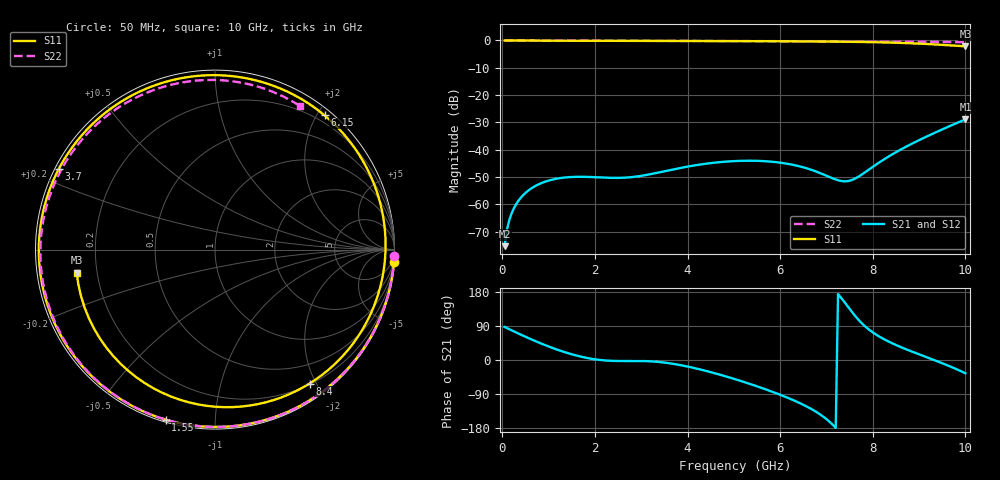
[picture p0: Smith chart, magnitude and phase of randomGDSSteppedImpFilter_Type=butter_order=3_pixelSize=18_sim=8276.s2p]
! freq	dB(S11)	phase(S11)	dB(S12)	phase(S12)
!  dB(S21)	phase(S21)	dB(S22)	phase(S22)
!S-par simulation data
#  GHz  S  DB  R 50
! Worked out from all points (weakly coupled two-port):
!   200 points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, 50 MHz to 10 GHz, reference 50 ohm
!   highest |S21| = -28.91 dB at 10 GHz (marker M1); lowest = -75.3 dB at 50 MHz (marker M2)
!   lowest |S11| = -2.1 dB at 10 GHz (marker M3), VSWR 8.15, Z = 6.17 - j4.06 ohm
!   |S11| at or under -10 dB: nowhere
!   |S22| runs from -0.6 to 0.0 dB; largest |S21 - S12| = 0
!   S11 on the Smith chart (normalised r, x): 50 MHz: 0, -30; 1.55 GHz: 0.01, -0.75; 3.7 GHz: 0.01, +0.24; 6.15 GHz: 0.10, +2.10; 8.4 GHz: 0.21, -1.91; 10 GHz: 0.12, -0.08
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0.05  -0.00 -3.8  -75.27 87.1  -75.27 87.1  -0.00 -2.1
0.1  -0.01 -7.7  -69.26 84.1  -69.26 84.1  -0.00 -4.1
0.2  -0.02 -15.2  -63.31 78.3  -63.31 78.3  -0.01 -8.2
0.45  -0.05 -33.8  -56.61 64.1  -56.61 64.1  -0.03 -18.4
1  -0.09 -72.3  -51.27 35.6  -51.27 35.6  -0.05 -40.2
1.55  -0.11 -106.2  -49.92 13.4  -49.92 13.4  -0.07 -61.1
1.75  -0.12 -117.4  -49.89 7.4  -49.89 7.4  -0.08 -68.4
2.55  -0.15 -157.5  -50.27 -2.7  -50.27 -2.7  -0.11 -95.6
3.4  -0.17 165.2  -48.22 -5.4  -48.22 -5.4  -0.14 -121.8
3.7  -0.18 152.7  -47.15 -10.3  -47.15 -10.3  -0.15 -130.4
4.4  -0.21 124.0  -45.09 -28.8  -45.09 -28.8  -0.18 -149.6
5.05  -0.24 97.4  -44.11 -51.5  -44.11 -51.5  -0.21 -166.5
5.6  -0.27 74.3  -44.11 -73.7  -44.11 -73.7  -0.24 179.4
6.15  -0.31 50.8  -45.10 -99.1  -45.10 -99.1  -0.27 165.5
6.7  -0.36 26.6  -47.48 -131.1  -47.48 -131.1  -0.31 151.5
7.45  -0.48 -7.6  -51.49 142.9  -51.49 142.9  -0.36 132.1
8.35  -0.76 -52.1  -42.38 48.2  -42.38 48.2  -0.43 107.7
8.4  -0.79 -54.8  -41.87 45.2  -41.87 45.2  -0.44 106.3
8.85  -1.04 -80.4  -37.73 22.0  -37.73 22.0  -0.48 93.5
9.25  -1.36 -106.6  -34.47 3.4  -34.47 3.4  -0.52 81.9
9.6  -1.72 -133.6  -31.79 -13.4  -31.79 -13.4  -0.57 71.4
10  -2.14 -170.6  -28.91 -35.0  -28.91 -35.0  -0.64 59.2
